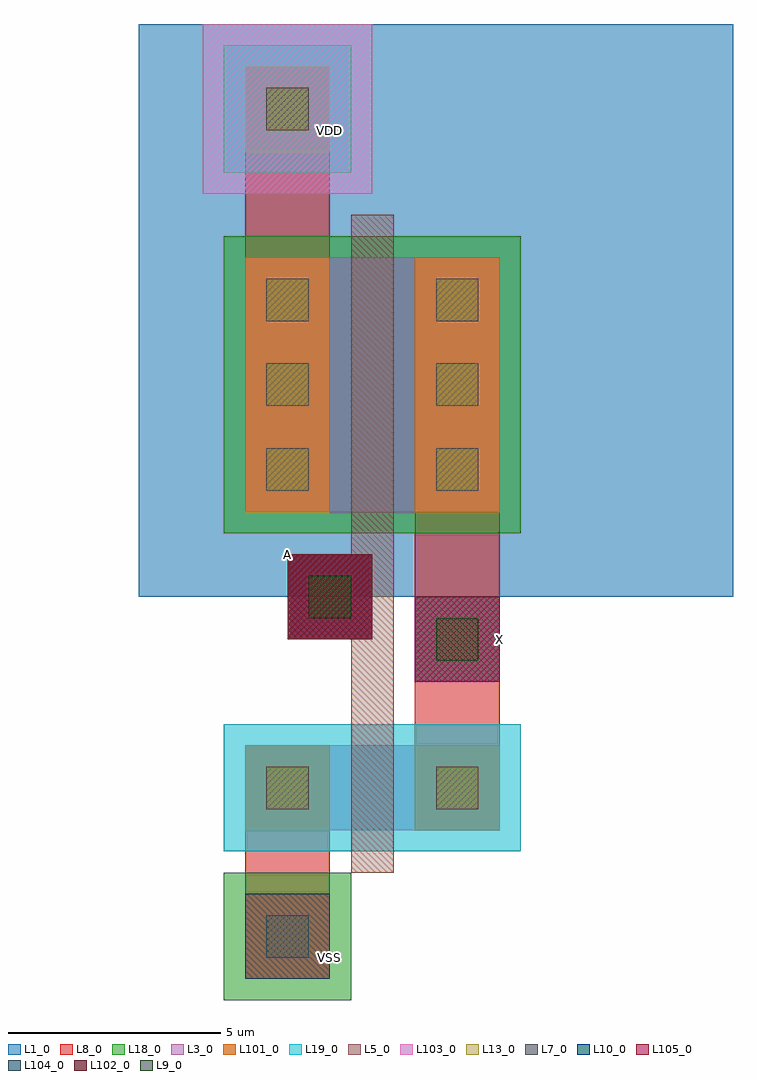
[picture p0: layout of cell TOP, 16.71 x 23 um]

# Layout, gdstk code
import gdstk
lib = gdstk.Library(unit=1e-6, precision=1e-09)
def R(c, l, rs):  # rectangles x0, y0, x1, y1
    for r in rs: c.add(gdstk.rectangle(r[:2], r[2:], *l))
def P(c, l, *ps):  # polygons
    for p in ps: c.add(gdstk.Polygon(p, *l))
L1_0 = (1, 0)
L3_0 = (3, 0)
L5_0 = (5, 0)
L7_0 = (7, 0)
L8_0 = (8, 0)
L9_0 = (9, 0)
L10_0 = (10, 0)
L13_0 = (13, 0)
L18_0 = (18, 0)
L19_0 = (19, 0)
L101_0 = (101, 0)
L102_0 = (102, 0)
L103_0 = (103, 0)
L104_0 = (104, 0)
L105_0 = (105, 0)

dcont = lib.new_cell('dcont')
R(dcont, L3_0, [(-1,-1,1,1)])
R(dcont, L7_0, [(-0.5,-0.5,0.5,0.5)])
R(dcont, L8_0, [(-1,-1,1,1)])
R(dcont, L13_0, [(-0.5,-0.5,0.5,0.5)])
R(dcont, L101_0, [(-1,-1,1,1)])
dcont.add(gdstk.Label('dcont', (0,0), layer=13, texttype=0))

nsubcont = lib.new_cell('nsubcont')
R(nsubcont, L1_0, [(-2,-2,2,2)])
R(nsubcont, L19_0, [(-1.5,-1.5,1.5,1.5)])
R(nsubcont, L103_0, [(-2,-2,2,2)])
nsubcont.add(gdstk.Reference(dcont, (0,0)))
nsubcont.add(gdstk.Label('NScont', (0,0), layer=13, texttype=0))

dcont_1 = lib.new_cell('dcont$1')
R(dcont_1, L3_0, [(-1,-1,1,1)])
R(dcont_1, L7_0, [(-0.5,-0.5,0.5,0.5)])
R(dcont_1, L8_0, [(-1,-1,1,1)])
R(dcont_1, L13_0, [(-0.5,-0.5,0.5,0.5)])
R(dcont_1, L101_0, [(-1,-1,1,1)])
dcont_1.add(gdstk.Label('dcont', (0,0), layer=13, texttype=0))

psubcont = lib.new_cell('psubcont')
R(psubcont, L18_0, [(-1.5,-1.5,1.5,1.5)])
R(psubcont, L104_0, [(-1,-1,1,1)])
psubcont.add(gdstk.Reference(dcont, (0,0)))
psubcont.add(gdstk.Label('PScon', (0,0), layer=13, texttype=0))

via = lib.new_cell('Via')
R(via, L8_0, [(-1,-1,1,1)])
R(via, L9_0, [(-0.5,-0.5,0.5,0.5)])
R(via, L10_0, [(-1,-1,1,1)])
R(via, L13_0, [(-0.5,-0.5,0.5,0.5)])
R(via, L105_0, [(-1,-1,1,1)])
via.add(gdstk.Label('via', (0,0), layer=13, texttype=0))

pcont = lib.new_cell('pcont')
R(pcont, L5_0, [(-1,-1,1,1)])
R(pcont, L7_0, [(-0.5,-0.5,0.5,0.5)])
R(pcont, L8_0, [(-1,-1,1,1)])
R(pcont, L13_0, [(-0.5,-0.5,0.5,0.5)])
R(pcont, L102_0, [(-1,-1,1,1)])
pcont.add(gdstk.Label('pcont', (0,0), layer=13, texttype=0))

top = lib.new_cell('TOP')
R(top, L1_0, [(-6,-4,8,9.5)])
P(top, L1_0, [(-8.712,9.091),(-8.712,9.091),(-8.712,9.091),(-8.712,9.091)])
R(top, L3_0, [(-1.5,-9.5,0.5,-7.5), (-1.5,-2,0.5,4)])
R(top, L8_0, [(-3.5,-11,-1.5,-9.5), (0.5,-7.5,2.5,-6), (0.5,-4,2.5,-2), (-3.5,4,-1.5,6.5)])
R(top, L18_0, [(-4,-2.5,3,4.5)])
R(top, L19_0, [(-4,-10,3,-7)])
top.add(gdstk.FlexPath([(-0.5,5),(-0.5,-3),(-0.5,-3)], 1, ends="flush", simple_path=True, layer=5, datatype=0))  # L5_0
top.add(gdstk.FlexPath([(-0.5,-6.5),(-0.5,-10.5),(-0.5,-10.5),(-0.5,-10.5)], 1, ends="flush", simple_path=True, layer=5, datatype=0))  # L5_0
top.add(gdstk.FlexPath([(-0.5,-3),(-0.5,-6.5),(-0.5,-6.5),(-0.5,-6.5)], 1, ends="flush", simple_path=True, layer=5, datatype=0))  # L5_0
top.add(gdstk.Reference(nsubcont, (-2.5,7.5)))
top.add(gdstk.Reference(dcont_1, (-2.5,3)))
top.add(gdstk.Reference(dcont_1, (-2.5,1)))
top.add(gdstk.Reference(dcont_1, (-2.5,-1)))
top.add(gdstk.Reference(dcont_1, (1.5,3)))
top.add(gdstk.Reference(dcont_1, (1.5,1)))
top.add(gdstk.Reference(dcont_1, (1.5,-1)))
top.add(gdstk.Reference(dcont_1, (-2.5,-8.5)))
top.add(gdstk.Reference(dcont_1, (1.5,-8.5)))
top.add(gdstk.Reference(psubcont, (-2.5,-12)))
top.add(gdstk.Reference(via, (-1.5,-4)))
top.add(gdstk.Reference(via, (1.5,-5)))
top.add(gdstk.Reference(pcont, (-1.5,-4)))
top.add(gdstk.Label('VSS', (-1.5,-12.5), layer=8, texttype=0))
top.add(gdstk.Label('VDD', (-1.5,7), layer=5, texttype=0))
top.add(gdstk.Label('A', (-2.5,-3), layer=10, texttype=0))
top.add(gdstk.Label('X', (2.5,-5), layer=10, texttype=0))

lib.write_gds('TOP.gds')
